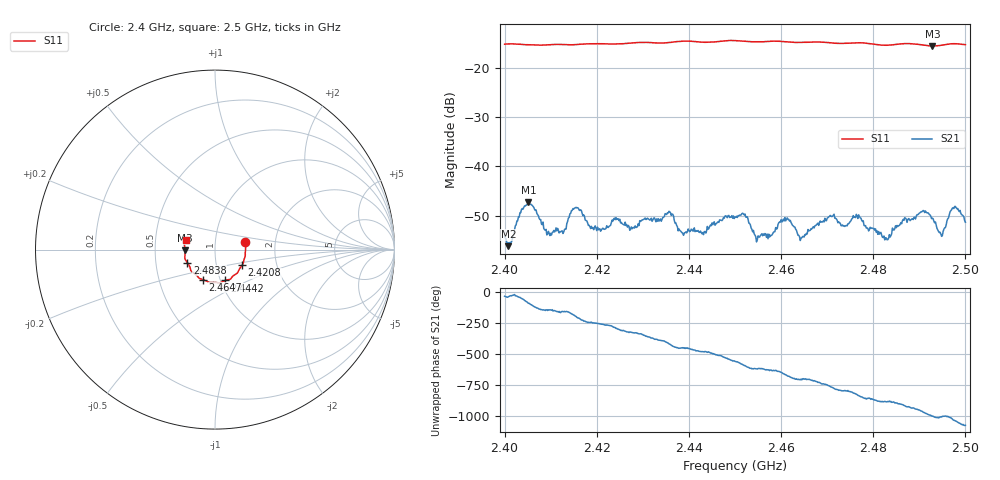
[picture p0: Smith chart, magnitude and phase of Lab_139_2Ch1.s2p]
# Hz S RI R 50
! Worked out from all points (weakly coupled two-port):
!   601 points, 2.4 GHz to 2.5 GHz, reference 50 ohm
!   highest |S21| = -47.30 dB at 2.4052 GHz (marker M1); lowest = -56.2 dB at 2.4008 GHz (marker M2)
!   lowest |S11| = -15.6 dB at 2.4928 GHz (marker M3), VSWR 1.40, Z = 35.8 - j0.36 ohm
!   |S11| at or under -10 dB: start of sweep to end of sweep
!   S12 and S22 are empty: the file has one direction only
!   S11 on the Smith chart (normalised r, x): 2.4 GHz: 1.40, +0.12; 2.4208 GHz: 1.33, -0.24; 2.4442 GHz: 1.05, -0.37; 2.4647 GHz: 0.83, -0.29; 2.4838 GHz: 0.73, -0.11; 2.5 GHz: 0.72, +0.08
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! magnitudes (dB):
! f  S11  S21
! 2.4 GHz  -15.3  -54.3
! 2.4008 GHz  -15.2  -56.2
! 2.4052 GHz  -15.4  -47.3
! 2.4097 GHz  -15.3  -53.6
! 2.4167 GHz  -15.2  -49.0
! 2.4208 GHz  -15.2  -53.2
! 2.4333 GHz  -15.0  -50.6
! 2.4442 GHz  -14.9  -52.8
! 2.45 GHz  -14.5  -50.3
! 2.4522 GHz  -14.7  -49.7
! 2.4548 GHz  -14.8  -54.9
! 2.461 GHz  -14.8  -51.0
! 2.4647 GHz  -14.9  -54.2
! 2.4667 GHz  -14.8  -52.7
! 2.4765 GHz  -15.0  -50.0
! 2.4833 GHz  -15.5  -54.6
! 2.4838 GHz  -15.4  -54.1
! 2.4905 GHz  -15.4  -49.2
! 2.4928 GHz  -15.6  -50.5
! 2.4947 GHz  -15.5  -53.7
! 2.4975 GHz  -15.1  -48.6
! 2.5 GHz  -15.3  -51.3
